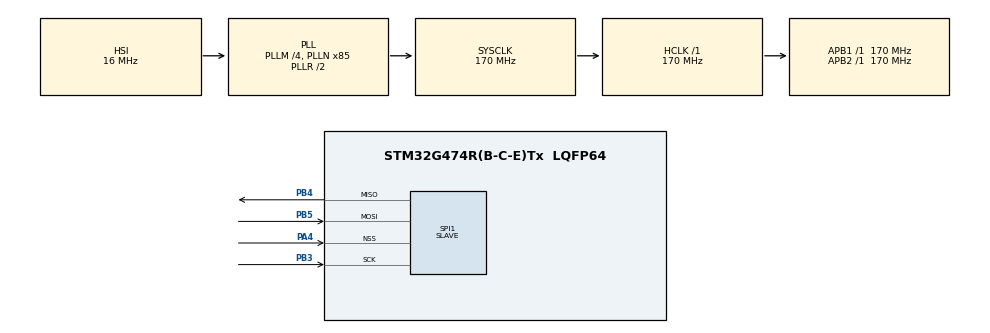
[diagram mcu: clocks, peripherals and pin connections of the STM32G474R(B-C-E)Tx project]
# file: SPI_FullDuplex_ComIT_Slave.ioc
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Mcu.Family=STM32G4
Mcu.Name=STM32G474R(B-C-E)Tx
Mcu.Package=LQFP64
NVIC.PriorityGroup=NVIC_PRIORITYGROUP_4
NVIC.SPI1_IRQn=true\:1\:0\:false\:false\:true\:true\:true\:true
PA4.Mode=NSS_Signal_Hard_Input
PA4.Signal=SPI1_NSS
PB3.Mode=Full_Duplex_Slave
PB3.Signal=SPI1_SCK
PB4.Mode=Full_Duplex_Slave
PB4.Signal=SPI1_MISO
PB5.GPIO_PuPd=GPIO_PULLDOWN
PB5.Mode=Full_Duplex_Slave
PB5.Signal=SPI1_MOSI
ProjectManager.HeapSize=0x200
ProjectManager.StackSize=0x400
ProjectManager.TargetToolchain=STM32CubeIDE
RCC.ADC12Freq_Value=170000000
RCC.ADC345Freq_Value=170000000
RCC.AHBFreq_Value=170000000
RCC.APB1Freq_Value=170000000
RCC.APB1TimFreq_Value=170000000
RCC.APB2Freq_Value=170000000
RCC.APB2TimFreq_Value=170000000
RCC.CortexFreq_Value=170000000
RCC.EXTERNAL_CLOCK_VALUE=12288000
RCC.HCLKFreq_Value=170000000
RCC.HSE_VALUE=24000000
RCC.HSI48_VALUE=48000000
RCC.HSI_VALUE=16000000
RCC.LSE_VALUE=32768
RCC.PLLM=RCC_PLLM_DIV4
RCC.PLLN=85
RCC.SYSCLKFreq_VALUE=170000000
RCC.SYSCLKSource=RCC_SYSCLKSOURCE_PLLCLK
RCC.USBFreq_Value=170000000
RCC.VCOOutputFreq_Value=340000000
SPI1.CLKPhase=SPI_PHASE_1EDGE
SPI1.CLKPolarity=SPI_POLARITY_LOW
SPI1.CRCCalculation=SPI_CRCCALCULATION_ENABLE
SPI1.CRCLength=SPI_CRC_LENGTH_16BIT
SPI1.CRCPolynomial=X0+X2+X15
SPI1.DataSize=SPI_DATASIZE_8BIT
SPI1.Direction=SPI_DIRECTION_2LINES
SPI1.FirstBit=SPI_FIRSTBIT_MSB
SPI1.Mode=SPI_MODE_SLAVE
SPI1.NSS=SPI_NSS_HARD_INPUT
SPI1.TIMode=SPI_TIMODE_DISABLE
SPI1.VirtualNSS=VM_NSSHARD
SPI1.VirtualType=VM_SLAVE
VP_SYS_VS_DBSignals.Mode=DisableDeadBatterySignals
board=NUCLEO-G474RE

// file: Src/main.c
/* USER CODE BEGIN Header */
/**
  ******************************************************************************
  * @file    SPI/SPI_FullDuplex_ComIT_Slave/Src/main.c
  * @author  MCD Application Team
  * @brief   This sample code shows how to use STM32G4xx SPI HAL API to transmit
  *          and receive a data buffer with a communication process based on
  *          Interrupt transfer.
  *          The communication is done using 2 Boards.
  ******************************************************************************
  * @attention
  *
  * Copyright (c) 2019 STMicroelectronics.
  * All rights reserved.
  *
  * This software is licensed under terms that can be found in the LICENSE file
  * in the root directory of this software component.
  * If no LICENSE file comes with this software, it is provided AS-IS.
  *
  ******************************************************************************
  */
/* USER CODE END Header */
#include "main.h"

/* USER CODE BEGIN PD */
enum
{
  TRANSFER_WAIT,
  TRANSFER_COMPLETE,
  TRANSFER_ERROR,
  TRANSFER_PROCESSED
};
/* USER CODE END PD */

SPI_HandleTypeDef hspi1;

/* USER CODE BEGIN PV */
/* Buffer used for transmission */
uint8_t aTxBuffer[] = "****SPI - Two Boards communication based on Interrupt **** SPI Message ******** SPI Message ******** SPI Message ****";

/* Buffer used for reception */
uint8_t aRxBuffer[BUFFERSIZE];
int Transfer_Error_Counter=0;
int Transfer_Process_Counter=0;
int Transfer_Init=1;

/* transfer state */
__IO uint32_t wTransferState = TRANSFER_WAIT;

/* USER CODE END PV */

void SystemClock_Config(void);
static void MX_GPIO_Init(void);
static void MX_SPI1_Init(void);
/* USER CODE BEGIN PFP */
/* Private function prototypes -----------------------------------------------*/
static uint16_t Buffercmp(uint8_t *pBuffer1, uint8_t *pBuffer2, uint16_t BufferLength);
/* USER CODE END PFP */

/* USER CODE BEGIN 0 */
HAL_StatusTypeDef SPI1_TEST_SEND()
{
	return HAL_SPI_TransmitReceive_IT(&hspi1, (uint8_t *)aTxBuffer, (uint8_t *)aRxBuffer, 111);
}
/* USER CODE END 0 */

int main(void)
{

  /* USER CODE BEGIN 1 */

  /* STM32G4xx HAL library initialization:
       - Configure the Flash prefetch
       - Systick timer is configured by default as source of time base, but user
         can eventually implement his proper time base source (a general purpose
         timer for example or other time source), keeping in mind that Time base
         duration should be kept 1ms since PPP_TIMEOUT_VALUEs are defined and
         handled in milliseconds basis.
       - Set NVIC Group Priority to 4
       - Low Level Initialization
     */
  /* USER CODE END 1 */

  /* MCU Configuration--------------------------------------------------------*/

  /* Reset of all peripherals, Initializes the Flash interface and the Systick. */
  HAL_Init();

  /* Configure the system clock */
  SystemClock_Config();

  /* Initialize all configured peripherals */
  MX_GPIO_Init();
  MX_SPI1_Init();
  /* USER CODE BEGIN 2 */

  /* Configure LED2 */
  BSP_LED_Init(LED2);

  /*##-1- Start the Full Duplex Communication process ########################*/
  /* While the SPI in TransmitReceive process, user can transmit data through
     "aTxBuffer" buffer & receive data through "aRxBuffer" */

  /*##-2- Wait for the end of the transfer ###################################*/
  /*  Before starting a new communication transfer, you must wait the callback call
      to get the transfer complete confirmation or an error detection.
      For simplicity reasons, this example is just waiting till the end of the
      transfer, but application may perform other tasks while transfer operation
      is ongoing. */

  /* USER CODE END 2 */

  /* Infinite loop */
  while (1)
  {

    /* USER CODE BEGIN 3 */

	  HAL_StatusTypeDef state_res = HAL_SPI_GetState(&hspi1);

	  if(Transfer_Init)
	  {
		  HAL_StatusTypeDef res = SPI1_TEST_SEND();
		  if ( res != HAL_OK)
		  {
		    /* Transfer error in transmission process */
		    Error_Handler();
		  }
		  Transfer_Init=0;
	  }

	  while (wTransferState == TRANSFER_WAIT)
	  {
	  }

	  switch (wTransferState)
	  {
	    case TRANSFER_COMPLETE :
	      /*##-3- Compare the sent and received buffers ##############################*/
	      {
	        // all good!
	    	BSP_LED_Toggle(LED2);
	    	wTransferState = TRANSFER_PROCESSED;
	    	Transfer_Process_Counter++;
	      }
	      break;

	    case TRANSFER_ERROR:
			Transfer_Error_Counter++;
			  //Transfer_Init=1;
	      break;
	  }
  }
  /* USER CODE END 3 */
}

void SystemClock_Config(void)
{
  RCC_OscInitTypeDef RCC_OscInitStruct = {0};
  RCC_ClkInitTypeDef RCC_ClkInitStruct = {0};

  /** Configure the main internal regulator output voltage
  */
  HAL_PWREx_ControlVoltageScaling(PWR_REGULATOR_VOLTAGE_SCALE1_BOOST);

  /** Initializes the RCC Oscillators according to the specified parameters
  * in the RCC_OscInitTypeDef structure.
  */
  RCC_OscInitStruct.OscillatorType = RCC_OSCILLATORTYPE_HSI;
  RCC_OscInitStruct.HSIState = RCC_HSI_ON;
  RCC_OscInitStruct.HSICalibrationValue = RCC_HSICALIBRATION_DEFAULT;
  RCC_OscInitStruct.PLL.PLLState = RCC_PLL_ON;
  RCC_OscInitStruct.PLL.PLLSource = RCC_PLLSOURCE_HSI;
  RCC_OscInitStruct.PLL.PLLM = RCC_PLLM_DIV4;
  RCC_OscInitStruct.PLL.PLLN = 85;
  RCC_OscInitStruct.PLL.PLLP = RCC_PLLP_DIV2;
  RCC_OscInitStruct.PLL.PLLQ = RCC_PLLQ_DIV2;
  RCC_OscInitStruct.PLL.PLLR = RCC_PLLR_DIV2;
  if (HAL_RCC_OscConfig(&RCC_OscInitStruct) != HAL_OK)
  {
    Error_Handler();
  }

  /** Initializes the CPU, AHB and APB buses clocks
  */
  RCC_ClkInitStruct.ClockType = RCC_CLOCKTYPE_HCLK|RCC_CLOCKTYPE_SYSCLK
                              |RCC_CLOCKTYPE_PCLK1|RCC_CLOCKTYPE_PCLK2;
  RCC_ClkInitStruct.SYSCLKSource = RCC_SYSCLKSOURCE_PLLCLK;
  RCC_ClkInitStruct.AHBCLKDivider = RCC_SYSCLK_DIV1;
  RCC_ClkInitStruct.APB1CLKDivider = RCC_HCLK_DIV1;
  RCC_ClkInitStruct.APB2CLKDivider = RCC_HCLK_DIV1;

  if (HAL_RCC_ClockConfig(&RCC_ClkInitStruct, FLASH_LATENCY_4) != HAL_OK)
  {
    Error_Handler();
  }
}

static void MX_SPI1_Init(void)
{

  /* SPI1 parameter configuration*/
  hspi1.Instance = SPI1;
  hspi1.Init.Mode = SPI_MODE_SLAVE;
  hspi1.Init.Direction = SPI_DIRECTION_2LINES;
  hspi1.Init.DataSize = SPI_DATASIZE_8BIT;
  hspi1.Init.CLKPolarity = SPI_POLARITY_LOW;
  hspi1.Init.CLKPhase = SPI_PHASE_1EDGE;
  hspi1.Init.NSS = SPI_NSS_HARD_INPUT;
  hspi1.Init.FirstBit = SPI_FIRSTBIT_MSB;
  hspi1.Init.TIMode = SPI_TIMODE_DISABLE;
  hspi1.Init.CRCCalculation = SPI_CRCCALCULATION_ENABLE;
  hspi1.Init.CRCPolynomial = 32773;
  hspi1.Init.CRCLength = SPI_CRC_LENGTH_16BIT;
  hspi1.Init.NSSPMode = SPI_NSS_PULSE_DISABLE;
  if (HAL_SPI_Init(&hspi1) != HAL_OK)
  {
    Error_Handler();
  }

}

static void MX_GPIO_Init(void)
{

  /* GPIO Ports Clock Enable */
  __HAL_RCC_GPIOA_CLK_ENABLE();
  __HAL_RCC_GPIOB_CLK_ENABLE();

}

/* USER CODE BEGIN 4 */
/**
  * @brief  TxRx Transfer completed callback.
  * @param  hspi: SPI handle
  * @note   This example shows a simple way to report end of Interrupt TxRx transfer, and
  *         you can add your own implementation.
  * @retval None
  */
void HAL_SPI_TxRxCpltCallback(SPI_HandleTypeDef *hspi)
{
	  static int callbacks;
	  /* Turn LED2 on: Transfer in transmission/reception process is complete */
	  wTransferState = TRANSFER_COMPLETE;

	  SPI1_TEST_SEND();

	  callbacks++;
}

/**
  * @brief  SPI error callbacks.
  * @param  hspi: SPI handle
  * @note   This example shows a simple way to report transfer error, and you can
  *         add your own implementation.
  * @retval None
  */
void HAL_SPI_ErrorCallback(SPI_HandleTypeDef *hspi)
{
  wTransferState = TRANSFER_ERROR;
}

/**
  * @brief  Compares two buffers.
  * @param  pBuffer1, pBuffer2: buffers to be compared.
  * @param  BufferLength: buffer's length
  * @retval 0  : pBuffer1 identical to pBuffer2
  *         >0 : pBuffer1 differs from pBuffer2
  */
static uint16_t Buffercmp(uint8_t *pBuffer1, uint8_t *pBuffer2, uint16_t BufferLength)
{
  while (BufferLength--)
  {
    if ((*pBuffer1) != *pBuffer2)
    {
      return BufferLength;
    }
    pBuffer1++;
    pBuffer2++;
  }

  return 0;
}

/* USER CODE END 4 */

void Error_Handler(void)
{
  /* USER CODE BEGIN Error_Handler_Debug */
  /* User can add his own implementation to report the HAL error return state */
  while (1)
  {
    /* Toggle LED2 for error */
    BSP_LED_Toggle(LED2);
    HAL_Delay(1000);
  }
  /* USER CODE END Error_Handler_Debug */
}
